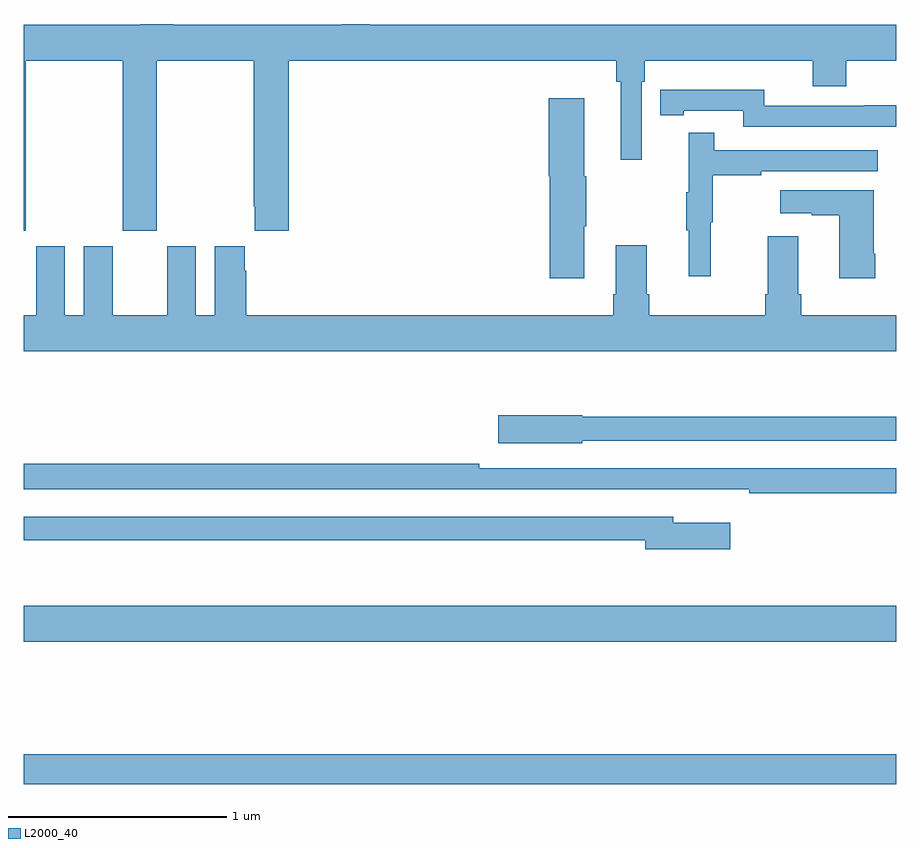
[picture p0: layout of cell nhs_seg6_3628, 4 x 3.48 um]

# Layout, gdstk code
import gdstk
lib = gdstk.Library(unit=1e-6, precision=1e-09)
def R(c, l, rs):  # rectangles x0, y0, x1, y1
    for r in rs: c.add(gdstk.rectangle(r[:2], r[2:], *l))
def P(c, l, *ps):  # polygons
    for p in ps: c.add(gdstk.Polygon(p, *l))
L2000_40 = (2000, 40)

nhs_seg6_3628 = lib.new_cell('nhs_seg6_3628')
R(nhs_seg6_3628, L2000_40, [(323,948.016,327,948.152), (323,948.668,327,948.832)])
P(nhs_seg6_3628, L2000_40, [(323.01,951.332),(323.455,951.332),(323.455,950.553),(323.61,950.553),(323.61,951.332),(324.055,951.332),(324.055,950.665),(324.059,950.665),(324.059,950.553),(324.215,950.553),(324.215,951.332),(325.717,951.332),(325.717,951.236),(325.736,951.236),(325.736,950.877),(325.833,950.877),(325.833,951.236),(325.847,951.236),(325.847,951.332),(326.618,951.332),(326.618,951.215),(326.771,951.215),(326.771,951.332),(327,951.332),(327,951.496),(324.587,951.496),(324.587,951.5),(324.458,951.5),(324.458,951.496),(323.686,951.496),(323.686,951.5),(323.534,951.5),(323.534,951.496),(323,951.496),(323,950.553),(323.01,950.553)],
  [(327,951.128),(326.854,951.128),(326.854,951.126),(326.394,951.126),(326.394,951.199),(326.026,951.199),(326.026,951.198),(325.918,951.198),(325.918,951.082),(326.026,951.082),(326.026,951.102),(326.298,951.102),(326.298,951.03),(327,951.03)],
  [(325.57,950.572),(325.578,950.572),(325.578,950.802),(325.57,950.802),(325.57,951.16),(325.406,951.16),(325.406,950.802),(325.412,950.802),(325.412,950.334),(325.57,950.334)],
  [(326.15,950.592),(326.158,950.592),(326.158,950.806),(326.381,950.806),(326.381,950.826),(326.914,950.826),(326.914,950.922),(326.165,950.922),(326.165,951.001),(326.048,951.001),(326.048,950.729),(326.037,950.729),(326.037,950.555),(326.048,950.555),(326.048,950.343),(326.15,950.343)],
  [(326.904,950.446),(326.896,950.446),(326.896,950.737),(326.469,950.737),(326.469,950.633),(326.612,950.633),(326.612,950.623),(326.738,950.623),(326.738,950.334),(326.904,950.334)],
  [(327,950.164),(326.564,950.164),(326.564,950.26),(326.551,950.26),(326.551,950.527),(326.411,950.527),(326.411,950.26),(326.399,950.26),(326.399,950.164),(325.868,950.164),(325.868,950.26),(325.855,950.26),(325.855,950.485),(325.715,950.485),(325.715,950.26),(325.703,950.26),(325.703,950.164),(324.02,950.164),(324.02,950.369),(324.013,950.369),(324.013,950.482),(323.876,950.482),(323.876,950.164),(323.788,950.164),(323.788,950.482),(323.657,950.482),(323.657,950.164),(323.407,950.164),(323.407,950.482),(323.276,950.482),(323.276,950.164),(323.188,950.164),(323.188,950.482),(323.057,950.482),(323.057,950.164),(323,950.164),(323,950),(327,950)],
  [(325.56,949.59),(327,949.59),(327,949.699),(325.56,949.699),(325.56,949.707),(325.176,949.707),(325.176,949.577),(325.56,949.577)],
  [(327,949.464),(325.088,949.464),(325.088,949.484),(323,949.484),(323,949.368),(326.074,949.368),(326.074,949.367),(326.326,949.367),(326.326,949.348),(327,949.348)],
  [(326.239,949.213),(325.978,949.213),(325.978,949.242),(323,949.242),(323,949.134),(325.85,949.134),(325.85,949.091),(326.239,949.091)])

lib.write_gds('nhs_seg6_3628.gds')
